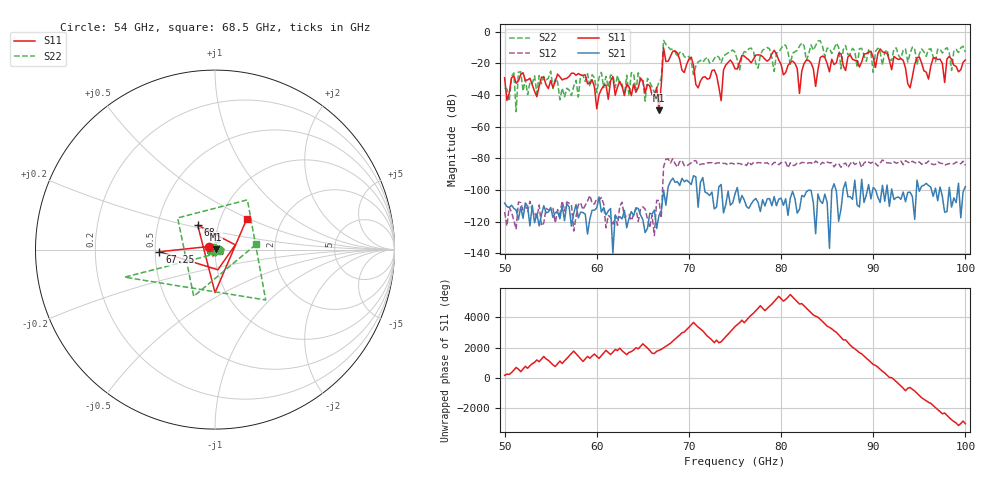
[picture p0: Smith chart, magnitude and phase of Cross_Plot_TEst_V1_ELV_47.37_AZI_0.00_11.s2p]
! 11/25/2026 1:21:32 PM
! C:\ANRITSUVNA\TEMP\TEMP.S2P
! CHANNEL.1
! TR.MEASUREMENT
! RAW.DATA
# HZ S RI R 50.0
! FREQ.HZ  S11RE  S11IM  S21RE  S21IM  S12RE  S12IM  S22RE  S22IM
!; PortSelection: Port_12
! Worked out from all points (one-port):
!   201 points, 50 GHz to 100 GHz, reference 50 ohm
!   lowest |S11| = -49.7 dB at 66.75 GHz (marker M1), VSWR 1.01, Z = 50.3 + j0.0709 ohm
!   |S11| at or under -10 dB: start of sweep to end of sweep
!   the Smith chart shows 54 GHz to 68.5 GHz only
!   S11 on the Smith chart (normalised r, x): 54 GHz: 0.93, +0.03; 67.25 GHz: 0.53, -0.01; 68 GHz: 0.80, +0.22; 68.5 GHz: 1.33, +0.49
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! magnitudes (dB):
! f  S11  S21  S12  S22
! 50 GHz  -29.1  -108.4  -114.0  -35.8
! 51 GHz  -27.9  -111.7  -119.3  -26.2
! 51.25 GHz  -32.6  -112.7  -124.9  -50.6
! 51.5 GHz  -31.2  -118.9  -107.7  -25.7
! 54 GHz  -28.7  -115.8  -122.8  -32.9
! 58.5 GHz  -27.6  -114.3  -112.6  -27.7
! 60 GHz  -48.8  -111.3  -105.5  -38.6
! 61.75 GHz  -28.4  -140.0  -121.7  -27.7
! 66.75 GHz  -49.7  -116.2  -106.8  -31.9
! 67.25 GHz  -10.2  -100.2  -85.5  -5.6
! 68 GHz  -15.5  -94.7  -83.0  -11.3
! 68.5 GHz  -12.1  -95.2  -83.5  -12.7
! 73.5 GHz  -43.6  -96.6  -82.7  -19.7
! 73.75 GHz  -24.3  -114.6  -83.3  -15.4
! 75 GHz  -23.5  -102.6  -83.9  -13.0
! 79.25 GHz  -11.8  -104.3  -82.7  -25.1
! 82 GHz  -39.0  -112.3  -83.5  -9.1
! 83.5 GHz  -23.4  -108.0  -83.7  -11.8
! 91.75 GHz  -18.2  -110.5  -83.0  -17.6
! 94 GHz  -35.5  -101.5  -83.2  -13.7
! 94.75 GHz  -16.4  -93.8  -83.2  -20.9
! 100 GHz  -17.9  -97.9  -84.5  -12.9
